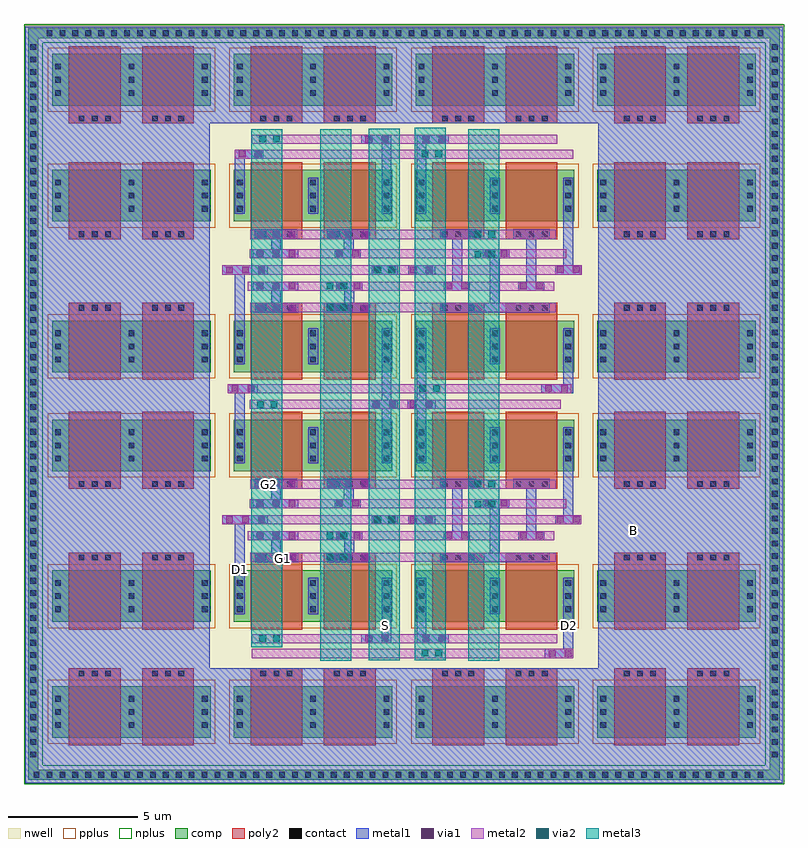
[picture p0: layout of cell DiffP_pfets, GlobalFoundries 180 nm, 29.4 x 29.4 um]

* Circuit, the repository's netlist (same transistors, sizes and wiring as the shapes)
** sch_path: /home/gmaranhao/Desktop/Bracolin/TIA_Filter/PseudoResistor/DiffP_pfets.sch
.subckt DiffP_pfets D1 D2 G1 G2 S B
*.PININFO D1:B D2:B G1:B G2:B S:B B:B
M1 net4 G1 S B pfet_03v3 L=2u W=2u nf=1 m=1
M2 net5 G2 S B pfet_03v3 L=2u W=2u nf=1 m=1
M5 net3 G1 S B pfet_03v3 L=2u W=2u nf=1 m=1
M6 net2 G1 S B pfet_03v3 L=2u W=2u nf=1 m=1
M7 net1 G1 S B pfet_03v3 L=2u W=2u nf=1 m=1
M8 D1 G1 net4 B pfet_03v3 L=2u W=2u nf=1 m=1
M9 D1 G1 net3 B pfet_03v3 L=2u W=2u nf=1 m=1
M10 D1 G1 net2 B pfet_03v3 L=2u W=2u nf=1 m=1
M11 D1 G1 net1 B pfet_03v3 L=2u W=2u nf=1 m=1
M12 net6 G2 S B pfet_03v3 L=2u W=2u nf=1 m=1
M15 D2 G2 net5 B pfet_03v3 L=2u W=2u nf=1 m=1
M16 D2 G2 net6 B pfet_03v3 L=2u W=2u nf=1 m=1
M19 net7 G2 S B pfet_03v3 L=2u W=2u nf=1 m=1
M20 net8 G2 S B pfet_03v3 L=2u W=2u nf=1 m=1
M21 D2 G2 net7 B pfet_03v3 L=2u W=2u nf=1 m=1
M22 D2 G2 net8 B pfet_03v3 L=2u W=2u nf=1 m=1
M3[1] B B B B pfet_03v3 L=2u W=2u nf=1 m=1
M3[2] B B B B pfet_03v3 L=2u W=2u nf=1 m=1
M3[3] B B B B pfet_03v3 L=2u W=2u nf=1 m=1
M3[4] B B B B pfet_03v3 L=2u W=2u nf=1 m=1
M3[5] B B B B pfet_03v3 L=2u W=2u nf=1 m=1
M3[6] B B B B pfet_03v3 L=2u W=2u nf=1 m=1
M3[7] B B B B pfet_03v3 L=2u W=2u nf=1 m=1
M3[8] B B B B pfet_03v3 L=2u W=2u nf=1 m=1
M3[9] B B B B pfet_03v3 L=2u W=2u nf=1 m=1
M3[10] B B B B pfet_03v3 L=2u W=2u nf=1 m=1
M3[11] B B B B pfet_03v3 L=2u W=2u nf=1 m=1
M3[12] B B B B pfet_03v3 L=2u W=2u nf=1 m=1
M3[13] B B B B pfet_03v3 L=2u W=2u nf=1 m=1
M3[14] B B B B pfet_03v3 L=2u W=2u nf=1 m=1
M3[15] B B B B pfet_03v3 L=2u W=2u nf=1 m=1
M3[16] B B B B pfet_03v3 L=2u W=2u nf=1 m=1
M3[17] B B B B pfet_03v3 L=2u W=2u nf=1 m=1
M3[18] B B B B pfet_03v3 L=2u W=2u nf=1 m=1
M3[19] B B B B pfet_03v3 L=2u W=2u nf=1 m=1
M3[20] B B B B pfet_03v3 L=2u W=2u nf=1 m=1
M3[21] B B B B pfet_03v3 L=2u W=2u nf=1 m=1
M3[22] B B B B pfet_03v3 L=2u W=2u nf=1 m=1
M3[23] B B B B pfet_03v3 L=2u W=2u nf=1 m=1
M3[24] B B B B pfet_03v3 L=2u W=2u nf=1 m=1
M3[25] B B B B pfet_03v3 L=2u W=2u nf=1 m=1
M3[26] B B B B pfet_03v3 L=2u W=2u nf=1 m=1
M3[27] B B B B pfet_03v3 L=2u W=2u nf=1 m=1
M3[28] B B B B pfet_03v3 L=2u W=2u nf=1 m=1
M3[29] B B B B pfet_03v3 L=2u W=2u nf=1 m=1
M3[30] B B B B pfet_03v3 L=2u W=2u nf=1 m=1
M3[31] B B B B pfet_03v3 L=2u W=2u nf=1 m=1
M3[32] B B B B pfet_03v3 L=2u W=2u nf=1 m=1
.ends
.end

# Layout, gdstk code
import gdstk
lib = gdstk.Library(unit=1e-6, precision=1e-09)
def R(c, l, rs):  # rectangles x0, y0, x1, y1
    for r in rs: c.add(gdstk.rectangle(r[:2], r[2:], *l))
def A(c, l, x, y, w, h, nx, ny, dx, dy):  # array of equal rectangles
    R(c, l, [(x+i*dx, y+j*dy, x+i*dx+w, y+j*dy+h) for i in range(nx) for j in range(ny)])
nwell = (21, 0)
comp = (22, 0)
poly2 = (30, 0)
pplus = (31, 0)
nplus = (32, 0)
contact = (33, 0)
metal1 = (34, 0)
via1 = (35, 0)
metal2 = (36, 0)
via2 = (38, 0)
metal3 = (42, 0)

pfet = lib.new_cell('pfet')
R(pfet, nwell, [(-0.9,-0.44,3.28,2.44)])
R(pfet, comp, [(-0.46,0,0,2), (0,0,2.38,2), (2.38,0,2.84,2)])
R(pfet, poly2, [(0.19,-0.3,2.19,2.3), (0.19,2.3,2.19,2.68)])
R(pfet, pplus, [(-0.63,-0.24,3.01,2.24)])
A(pfet, contact, -0.34, 0.38, 0.22, 0.22, 1, 3, 0, 0.51)
A(pfet, contact, 2.5, 0.38, 0.22, 0.22, 1, 3, 0, 0.51)
A(pfet, contact, 0.57, 2.38, 0.22, 0.22, 3, 1, 0.51, 0)
R(pfet, metal1, [(-0.42,0.3,-0.04,1.7), (2.42,0.3,2.8,1.7), (0.49,2.3,1.89,2.68)])

diffp_pfets = lib.new_cell('DiffP_pfets')
R(diffp_pfets, nwell, [(-8.535,-6.23,20.775,23.085)])
R(diffp_pfets, comp, [(-8.405,-6.1,20.655,-5.72), (20.275,-5.8,20.655,22.96), (-8.405,-5.735,-8.025,22.96), (-8.285,22.58,20.405,22.96)])
R(diffp_pfets, nplus, [(-8.575,-6.27,20.825,-5.55), (-8.575,-5.645,-7.855,23.13), (20.105,-5.645,20.825,23.13), (-8.455,22.41,20.575,23.13)])
A(diffp_pfets, contact, -8.2, -6.02, 0.22, 0.22, 57, 1, 0.5, 0)
A(diffp_pfets, contact, -8.325, -5.235, 0.22, 0.22, 1, 58, 0, 0.48)
A(diffp_pfets, contact, 20.355, -5.235, 0.22, 0.22, 1, 58, 0, 0.48)
A(diffp_pfets, contact, -7.7, 22.66, 0.22, 0.22, 56, 1, 0.5, 0)
R(diffp_pfets, metal1, [(-8.52,-6.235,-1.39,23.03), (-1.43,-6.235,20.77,-1.8), (13.64,-6.235,20.77,23.03), (11.575,-1.4,12.67,-1.045), (12.29,-1.335,12.67,0.81), (4.48,-0.825,5.64,-0.47), (6.61,-0.825,6.99,0.935), (6.69,-0.825,7.86,-0.47), (5.26,-0.81,5.64,1.335), (-0.42,1.69,-0.04,4.015), (0.38,2.3,2.03,2.68), (0.98,2.3,1.36,3.395), (3.155,2.3,4.805,2.68), (3.815,2.3,4.195,3.505), (8.815,2.3,10.725,2.68), (9.45,2.335,9.83,4.475), (0.265,3.15,2.03,3.505), (3.495,3.15,4.505,3.505), (3.495,3.15,4.505,3.505), (3.495,3.15,4.505,3.505), (7.665,3.15,8.675,3.505), (7.665,3.15,8.675,3.505), (7.665,3.15,8.675,3.505), (10.55,3.15,11.56,3.505), (10.55,3.15,11.56,3.505), (10.55,3.15,11.56,3.505), (7.995,3.365,8.375,5.505), (10.855,3.45,11.235,5.51), (-0.915,3.775,0.85,4.13), (4.87,3.775,5.88,4.13), (4.87,3.775,5.88,4.13), (4.87,3.775,5.88,4.13), (6.28,3.775,7.34,4.13), (11.98,3.775,12.99,4.13), (11.98,3.775,12.99,4.13), (11.98,3.775,12.99,4.13), (12.29,4.08,12.67,6.405), (0.265,4.4,2.03,4.755), (3.445,4.4,4.455,4.755), (3.445,4.4,4.455,4.755), (3.445,4.4,4.455,4.755), (9.18,4.4,10.19,4.755), (9.18,4.4,10.19,4.755), (9.18,4.4,10.19,4.755), (0.98,4.405,1.36,5.5), (3.8,4.405,4.18,5.5), (0.35,5.15,2,5.53), (3.155,5.15,4.805,5.53), (-0.42,7.51,-0.04,9.165), (5.26,7.525,5.64,8.56), (6.61,7.525,6.99,10.05), (4.77,8.24,5.885,8.595), (6.27,8.24,7.355,8.595), (5.26,8.535,5.64,10.08), (-0.695,8.845,0.475,9.2), (11.425,8.845,12.595,9.2), (12.29,8.845,12.67,10.085), (-0.42,11.35,-0.04,13.675), (0.38,11.96,2.03,12.34), (0.98,11.96,1.36,13.055), (3.155,11.96,4.805,12.34), (3.815,11.96,4.195,13.165), (8.815,11.96,10.725,12.34), (9.45,11.995,9.83,14.135), (0.265,12.81,2.03,13.165), (3.495,12.81,4.505,13.165), (3.495,12.81,4.505,13.165), (3.495,12.81,4.505,13.165), (7.665,12.81,8.675,13.165), (7.665,12.81,8.675,13.165), (7.665,12.81,8.675,13.165), (10.55,12.81,11.56,13.165), (10.55,12.81,11.56,13.165), (10.55,12.81,11.56,13.165), (7.995,13.025,8.375,15.165), (10.855,13.11,11.235,15.17), (-0.915,13.435,0.85,13.79), (4.87,13.435,5.88,13.79), (4.87,13.435,5.88,13.79), (4.87,13.435,5.88,13.79), (6.28,13.435,7.34,13.79), (11.98,13.435,12.99,13.79), (11.98,13.435,12.99,13.79), (11.98,13.435,12.99,13.79), (12.29,13.66,12.67,15.985), (0.265,14.06,2.03,14.415), (3.445,14.06,4.455,14.415), (3.445,14.06,4.455,14.415), (3.445,14.06,4.455,14.415), (9.18,14.06,10.19,14.415), (9.18,14.06,10.19,14.415), (9.18,14.06,10.19,14.415), (0.98,14.065,1.36,15.16), (3.8,14.065,4.18,15.16), (0.35,14.81,2,15.19), (3.155,14.81,4.805,15.19), (6.61,16.84,6.99,18.85), (5.26,16.855,5.64,18.85), (-0.42,17.085,-0.04,18.215), (-0.42,17.92,0.675,18.275), (4.48,18.495,5.64,18.85), (6.69,18.495,7.86,18.85), (-1.43,19.29,20.77,23.03)])
R(diffp_pfets, via1, [(11.73,-1.35,11.99,-1.09), (11.73,-1.35,11.99,-1.09), (11.73,-1.35,11.99,-1.09), (11.73,-1.35,11.99,-1.09), (11.73,-1.35,11.99,-1.09), (11.73,-1.35,11.99,-1.09), (11.73,-1.35,11.99,-1.09), (11.73,-1.35,11.99,-1.09), (12.35,-1.35,12.61,-1.09), (12.35,-1.35,12.61,-1.09), (12.35,-1.35,12.61,-1.09), (12.35,-1.35,12.61,-1.09), (12.35,-1.35,12.61,-1.09), (12.35,-1.35,12.61,-1.09), (12.35,-1.35,12.61,-1.09), (12.35,-1.35,12.61,-1.09), (4.635,-0.775,4.895,-0.515), (4.635,-0.775,4.895,-0.515), (4.635,-0.775,4.895,-0.515), (4.635,-0.775,4.895,-0.515), (4.635,-0.775,4.895,-0.515), (4.635,-0.775,4.895,-0.515), (4.635,-0.775,4.895,-0.515), (4.635,-0.775,4.895,-0.515), (5.255,-0.775,5.515,-0.515), (5.255,-0.775,5.515,-0.515), (5.255,-0.775,5.515,-0.515), (5.255,-0.775,5.515,-0.515), (5.255,-0.775,5.515,-0.515), (5.255,-0.775,5.515,-0.515), (5.255,-0.775,5.515,-0.515), (5.255,-0.775,5.515,-0.515), (6.845,-0.775,7.105,-0.515), (6.845,-0.775,7.105,-0.515), (6.845,-0.775,7.105,-0.515), (6.845,-0.775,7.105,-0.515), (6.845,-0.775,7.105,-0.515), (6.845,-0.775,7.105,-0.515), (6.845,-0.775,7.105,-0.515), (6.845,-0.775,7.105,-0.515), (7.465,-0.775,7.725,-0.515), (7.465,-0.775,7.725,-0.515), (7.465,-0.775,7.725,-0.515), (7.465,-0.775,7.725,-0.515), (7.465,-0.775,7.725,-0.515), (7.465,-0.775,7.725,-0.515), (7.465,-0.775,7.725,-0.515), (7.465,-0.775,7.725,-0.515), (0.45,2.35,0.71,2.61), (0.45,2.35,0.71,2.61), (0.45,2.35,0.71,2.61), (0.45,2.35,0.71,2.61), (0.45,2.35,0.71,2.61), (0.45,2.35,0.71,2.61), (0.45,2.35,0.71,2.61), (0.45,2.35,0.71,2.61), (1.07,2.35,1.33,2.61), (1.07,2.35,1.33,2.61), (1.07,2.35,1.33,2.61), (1.07,2.35,1.33,2.61), (1.07,2.35,1.33,2.61), (1.07,2.35,1.33,2.61), (1.07,2.35,1.33,2.61), (1.07,2.35,1.33,2.61), (1.69,2.35,1.95,2.61), (1.69,2.35,1.95,2.61), (1.69,2.35,1.95,2.61), (1.69,2.35,1.95,2.61), (1.69,2.35,1.95,2.61), (1.69,2.35,1.95,2.61), (1.69,2.35,1.95,2.61), (1.69,2.35,1.95,2.61), (3.225,2.35,3.485,2.61), (3.225,2.35,3.485,2.61), (3.225,2.35,3.485,2.61), (3.225,2.35,3.485,2.61), (3.225,2.35,3.485,2.61), (3.225,2.35,3.485,2.61), (3.225,2.35,3.485,2.61), (3.225,2.35,3.485,2.61), (3.845,2.35,4.105,2.61), (3.845,2.35,4.105,2.61), (3.845,2.35,4.105,2.61), (3.845,2.35,4.105,2.61), (3.845,2.35,4.105,2.61), (3.845,2.35,4.105,2.61), (3.845,2.35,4.105,2.61), (3.845,2.35,4.105,2.61), (4.465,2.35,4.725,2.61), (4.465,2.35,4.725,2.61), (4.465,2.35,4.725,2.61), (4.465,2.35,4.725,2.61), (4.465,2.35,4.725,2.61), (4.465,2.35,4.725,2.61), (4.465,2.35,4.725,2.61), (4.465,2.35,4.725,2.61), (0.42,3.2,0.68,3.46), (0.42,3.2,0.68,3.46), (0.42,3.2,0.68,3.46), (0.42,3.2,0.68,3.46), (0.42,3.2,0.68,3.46), (0.42,3.2,0.68,3.46), (0.42,3.2,0.68,3.46), (0.42,3.2,0.68,3.46), (1.04,3.2,1.3,3.46), (1.04,3.2,1.3,3.46), (1.04,3.2,1.3,3.46), (1.04,3.2,1.3,3.46), (1.04,3.2,1.3,3.46), (1.04,3.2,1.3,3.46), (1.04,3.2,1.3,3.46), (1.04,3.2,1.3,3.46), (1.66,3.2,1.92,3.46), (1.66,3.2,1.92,3.46), (1.66,3.2,1.92,3.46), (1.66,3.2,1.92,3.46), (1.66,3.2,1.92,3.46), (1.66,3.2,1.92,3.46), (1.66,3.2,1.92,3.46), (1.66,3.2,1.92,3.46), (3.555,3.215,3.815,3.475), (4.175,3.215,4.435,3.475), (7.725,3.215,7.985,3.475), (8.345,3.215,8.605,3.475), (10.61,3.215,10.87,3.475), (11.23,3.215,11.49,3.475), (-0.76,3.825,-0.5,4.085), (-0.76,3.825,-0.5,4.085), (-0.76,3.825,-0.5,4.085), (-0.76,3.825,-0.5,4.085), (-0.76,3.825,-0.5,4.085), (-0.76,3.825,-0.5,4.085), (-0.76,3.825,-0.5,4.085), (-0.76,3.825,-0.5,4.085), (-0.14,3.825,0.12,4.085), (-0.14,3.825,0.12,4.085), (-0.14,3.825,0.12,4.085), (-0.14,3.825,0.12,4.085), (-0.14,3.825,0.12,4.085), (-0.14,3.825,0.12,4.085), (-0.14,3.825,0.12,4.085), (-0.14,3.825,0.12,4.085), (0.48,3.825,0.74,4.085), (0.48,3.825,0.74,4.085), (0.48,3.825,0.74,4.085), (0.48,3.825,0.74,4.085), (0.48,3.825,0.74,4.085), (0.48,3.825,0.74,4.085), (0.48,3.825,0.74,4.085), (0.48,3.825,0.74,4.085), (6.35,3.825,6.61,4.085), (6.35,3.825,6.61,4.085), (6.35,3.825,6.61,4.085), (6.35,3.825,6.61,4.085), (6.35,3.825,6.61,4.085), (6.35,3.825,6.61,4.085), (6.35,3.825,6.61,4.085), (6.35,3.825,6.61,4.085), (6.97,3.825,7.23,4.085), (6.97,3.825,7.23,4.085), (6.97,3.825,7.23,4.085), (6.97,3.825,7.23,4.085), (6.97,3.825,7.23,4.085), (6.97,3.825,7.23,4.085), (6.97,3.825,7.23,4.085), (6.97,3.825,7.23,4.085), (4.93,3.84,5.19,4.1), (4.93,3.84,5.19,4.1), (5.55,3.84,5.81,4.1), (5.55,3.84,5.81,4.1), (12.04,3.84,12.3,4.1), (12.04,3.84,12.3,4.1), (12.66,3.84,12.92,4.1), (12.66,3.84,12.92,4.1), (0.42,4.45,0.68,4.71), (0.42,4.45,0.68,4.71), (0.42,4.45,0.68,4.71), (0.42,4.45,0.68,4.71), (0.42,4.45,0.68,4.71), (0.42,4.45,0.68,4.71), (0.42,4.45,0.68,4.71), (0.42,4.45,0.68,4.71), (1.04,4.45,1.3,4.71), (1.04,4.45,1.3,4.71), (1.04,4.45,1.3,4.71), (1.04,4.45,1.3,4.71), (1.04,4.45,1.3,4.71), (1.04,4.45,1.3,4.71), (1.04,4.45,1.3,4.71), (1.04,4.45,1.3,4.71), (1.66,4.45,1.92,4.71), (1.66,4.45,1.92,4.71), (1.66,4.45,1.92,4.71), (1.66,4.45,1.92,4.71), (1.66,4.45,1.92,4.71), (1.66,4.45,1.92,4.71), (1.66,4.45,1.92,4.71), (1.66,4.45,1.92,4.71), (3.505,4.465,3.765,4.725), (4.125,4.465,4.385,4.725), (9.24,4.465,9.5,4.725), (9.86,4.465,10.12,4.725), (0.42,5.2,0.68,5.46), (0.42,5.2,0.68,5.46), (0.42,5.2,0.68,5.46), (0.42,5.2,0.68,5.46), (0.42,5.2,0.68,5.46), (0.42,5.2,0.68,5.46), (0.42,5.2,0.68,5.46), (0.42,5.2,0.68,5.46), (1.04,5.2,1.3,5.46), (1.04,5.2,1.3,5.46), (1.04,5.2,1.3,5.46), (1.04,5.2,1.3,5.46), (1.04,5.2,1.3,5.46), (1.04,5.2,1.3,5.46), (1.04,5.2,1.3,5.46), (1.04,5.2,1.3,5.46), (1.66,5.2,1.92,5.46), (1.66,5.2,1.92,5.46), (1.66,5.2,1.92,5.46), (1.66,5.2,1.92,5.46), (1.66,5.2,1.92,5.46), (1.66,5.2,1.92,5.46), (1.66,5.2,1.92,5.46), (1.66,5.2,1.92,5.46), (3.225,5.2,3.485,5.46), (3.225,5.2,3.485,5.46), (3.225,5.2,3.485,5.46), (3.225,5.2,3.485,5.46), (3.225,5.2,3.485,5.46), (3.225,5.2,3.485,5.46), (3.225,5.2,3.485,5.46), (3.225,5.2,3.485,5.46), (3.845,5.2,4.105,5.46), (3.845,5.2,4.105,5.46), (3.845,5.2,4.105,5.46), (3.845,5.2,4.105,5.46), (3.845,5.2,4.105,5.46), (3.845,5.2,4.105,5.46), (3.845,5.2,4.105,5.46), (3.845,5.2,4.105,5.46), (4.465,5.2,4.725,5.46), (4.465,5.2,4.725,5.46), (4.465,5.2,4.725,5.46), (4.465,5.2,4.725,5.46), (4.465,5.2,4.725,5.46), (4.465,5.2,4.725,5.46), (4.465,5.2,4.725,5.46), (4.465,5.2,4.725,5.46), (4.925,8.29,5.185,8.55), (4.925,8.29,5.185,8.55), (4.925,8.29,5.185,8.55), (4.925,8.29,5.185,8.55), (4.925,8.29,5.185,8.55), (4.925,8.29,5.185,8.55), (4.925,8.29,5.185,8.55), (4.925,8.29,5.185,8.55), (5.545,8.29,5.805,8.55), (5.545,8.29,5.805,8.55), (5.545,8.29,5.805,8.55), (5.545,8.29,5.805,8.55), (5.545,8.29,5.805,8.55), (5.545,8.29,5.805,8.55), (5.545,8.29,5.805,8.55), (5.545,8.29,5.805,8.55), (6.34,8.29,6.6,8.55), (6.34,8.29,6.6,8.55), (6.34,8.29,6.6,8.55), (6.34,8.29,6.6,8.55), (6.34,8.29,6.6,8.55), (6.34,8.29,6.6,8.55), (6.34,8.29,6.6,8.55), (6.34,8.29,6.6,8.55), (6.96,8.29,7.22,8.55), (6.96,8.29,7.22,8.55), (6.96,8.29,7.22,8.55), (6.96,8.29,7.22,8.55), (6.96,8.29,7.22,8.55), (6.96,8.29,7.22,8.55), (6.96,8.29,7.22,8.55), (6.96,8.29,7.22,8.55), (-0.54,8.895,-0.28,9.155), (-0.54,8.895,-0.28,9.155), (-0.54,8.895,-0.28,9.155), (-0.54,8.895,-0.28,9.155), (-0.54,8.895,-0.28,9.155), (-0.54,8.895,-0.28,9.155), (-0.54,8.895,-0.28,9.155), (-0.54,8.895,-0.28,9.155), (0.08,8.895,0.34,9.155), (0.08,8.895,0.34,9.155), (0.08,8.895,0.34,9.155), (0.08,8.895,0.34,9.155), (0.08,8.895,0.34,9.155), (0.08,8.895,0.34,9.155), (0.08,8.895,0.34,9.155), (0.08,8.895,0.34,9.155), (11.58,8.895,11.84,9.155), (11.58,8.895,11.84,9.155), (11.58,8.895,11.84,9.155), (11.58,8.895,11.84,9.155), (11.58,8.895,11.84,9.155), (11.58,8.895,11.84,9.155), (11.58,8.895,11.84,9.155), (11.58,8.895,11.84,9.155), (12.2,8.895,12.46,9.155), (12.2,8.895,12.46,9.155), (12.2,8.895,12.46,9.155), (12.2,8.895,12.46,9.155), (12.2,8.895,12.46,9.155), (12.2,8.895,12.46,9.155), (12.2,8.895,12.46,9.155), (12.2,8.895,12.46,9.155), (0.45,12.01,0.71,12.27), (0.45,12.01,0.71,12.27), (0.45,12.01,0.71,12.27), (0.45,12.01,0.71,12.27), (0.45,12.01,0.71,12.27), (0.45,12.01,0.71,12.27), (0.45,12.01,0.71,12.27), (0.45,12.01,0.71,12.27), (1.07,12.01,1.33,12.27), (1.07,12.01,1.33,12.27), (1.07,12.01,1.33,12.27), (1.07,12.01,1.33,12.27), (1.07,12.01,1.33,12.27), (1.07,12.01,1.33,12.27), (1.07,12.01,1.33,12.27), (1.07,12.01,1.33,12.27), (1.69,12.01,1.95,12.27), (1.69,12.01,1.95,12.27), (1.69,12.01,1.95,12.27), (1.69,12.01,1.95,12.27), (1.69,12.01,1.95,12.27), (1.69,12.01,1.95,12.27), (1.69,12.01,1.95,12.27), (1.69,12.01,1.95,12.27), (3.225,12.01,3.485,12.27), (3.225,12.01,3.485,12.27), (3.225,12.01,3.485,12.27), (3.225,12.01,3.485,12.27), (3.225,12.01,3.485,12.27), (3.225,12.01,3.485,12.27), (3.225,12.01,3.485,12.27), (3.225,12.01,3.485,12.27), (3.845,12.01,4.105,12.27), (3.845,12.01,4.105,12.27), (3.845,12.01,4.105,12.27), (3.845,12.01,4.105,12.27), (3.845,12.01,4.105,12.27), (3.845,12.01,4.105,12.27), (3.845,12.01,4.105,12.27), (3.845,12.01,4.105,12.27), (4.465,12.01,4.725,12.27), (4.465,12.01,4.725,12.27), (4.465,12.01,4.725,12.27), (4.465,12.01,4.725,12.27), (4.465,12.01,4.725,12.27), (4.465,12.01,4.725,12.27), (4.465,12.01,4.725,12.27), (4.465,12.01,4.725,12.27), (0.42,12.86,0.68,13.12), (0.42,12.86,0.68,13.12), (0.42,12.86,0.68,13.12), (0.42,12.86,0.68,13.12), (0.42,12.86,0.68,13.12), (0.42,12.86,0.68,13.12), (0.42,12.86,0.68,13.12), (0.42,12.86,0.68,13.12), (1.04,12.86,1.3,13.12), (1.04,12.86,1.3,13.12), (1.04,12.86,1.3,13.12), (1.04,12.86,1.3,13.12), (1.04,12.86,1.3,13.12), (1.04,12.86,1.3,13.12), (1.04,12.86,1.3,13.12), (1.04,12.86,1.3,13.12), (1.66,12.86,1.92,13.12), (1.66,12.86,1.92,13.12), (1.66,12.86,1.92,13.12), (1.66,12.86,1.92,13.12), (1.66,12.86,1.92,13.12), (1.66,12.86,1.92,13.12), (1.66,12.86,1.92,13.12), (1.66,12.86,1.92,13.12), (3.555,12.875,3.815,13.135), (4.175,12.875,4.435,13.135), (7.725,12.875,7.985,13.135), (8.345,12.875,8.605,13.135), (10.61,12.875,10.87,13.135), (11.23,12.875,11.49,13.135), (-0.76,13.485,-0.5,13.745), (-0.76,13.485,-0.5,13.745), (-0.76,13.485,-0.5,13.745), (-0.76,13.485,-0.5,13.745), (-0.76,13.485,-0.5,13.745), (-0.76,13.485,-0.5,13.745), (-0.76,13.485,-0.5,13.745), (-0.76,13.485,-0.5,13.745), (-0.14,13.485,0.12,13.745), (-0.14,13.485,0.12,13.745), (-0.14,13.485,0.12,13.745), (-0.14,13.485,0.12,13.745), (-0.14,13.485,0.12,13.745), (-0.14,13.485,0.12,13.745), (-0.14,13.485,0.12,13.745), (-0.14,13.485,0.12,13.745), (0.48,13.485,0.74,13.745), (0.48,13.485,0.74,13.745), (0.48,13.485,0.74,13.745), (0.48,13.485,0.74,13.745), (0.48,13.485,0.74,13.745), (0.48,13.485,0.74,13.745), (0.48,13.485,0.74,13.745), (0.48,13.485,0.74,13.745), (6.35,13.485,6.61,13.745), (6.35,13.485,6.61,13.745), (6.35,13.485,6.61,13.745), (6.35,13.485,6.61,13.745), (6.35,13.485,6.61,13.745), (6.35,13.485,6.61,13.745), (6.35,13.485,6.61,13.745), (6.35,13.485,6.61,13.745), (6.97,13.485,7.23,13.745), (6.97,13.485,7.23,13.745), (6.97,13.485,7.23,13.745), (6.97,13.485,7.23,13.745), (6.97,13.485,7.23,13.745), (6.97,13.485,7.23,13.745), (6.97,13.485,7.23,13.745), (6.97,13.485,7.23,13.745), (4.93,13.5,5.19,13.76), (4.93,13.5,5.19,13.76), (5.55,13.5,5.81,13.76), (5.55,13.5,5.81,13.76), (12.04,13.5,12.3,13.76), (12.04,13.5,12.3,13.76), (12.66,13.5,12.92,13.76), (12.66,13.5,12.92,13.76), (0.42,14.11,0.68,14.37), (0.42,14.11,0.68,14.37), (0.42,14.11,0.68,14.37), (0.42,14.11,0.68,14.37), (0.42,14.11,0.68,14.37), (0.42,14.11,0.68,14.37), (0.42,14.11,0.68,14.37), (0.42,14.11,0.68,14.37), (1.04,14.11,1.3,14.37), (1.04,14.11,1.3,14.37), (1.04,14.11,1.3,14.37), (1.04,14.11,1.3,14.37), (1.04,14.11,1.3,14.37), (1.04,14.11,1.3,14.37), (1.04,14.11,1.3,14.37), (1.04,14.11,1.3,14.37), (1.66,14.11,1.92,14.37), (1.66,14.11,1.92,14.37), (1.66,14.11,1.92,14.37), (1.66,14.11,1.92,14.37), (1.66,14.11,1.92,14.37), (1.66,14.11,1.92,14.37), (1.66,14.11,1.92,14.37), (1.66,14.11,1.92,14.37), (3.505,14.125,3.765,14.385), (4.125,14.125,4.385,14.385), (9.24,14.125,9.5,14.385), (9.86,14.125,10.12,14.385), (0.42,14.86,0.68,15.12), (0.42,14.86,0.68,15.12), (0.42,14.86,0.68,15.12), (0.42,14.86,0.68,15.12), (0.42,14.86,0.68,15.12), (0.42,14.86,0.68,15.12), (0.42,14.86,0.68,15.12), (0.42,14.86,0.68,15.12), (1.04,14.86,1.3,15.12), (1.04,14.86,1.3,15.12), (1.04,14.86,1.3,15.12), (1.04,14.86,1.3,15.12), (1.04,14.86,1.3,15.12), (1.04,14.86,1.3,15.12), (1.04,14.86,1.3,15.12), (1.04,14.86,1.3,15.12), (1.66,14.86,1.92,15.12), (1.66,14.86,1.92,15.12), (1.66,14.86,1.92,15.12), (1.66,14.86,1.92,15.12), (1.66,14.86,1.92,15.12), (1.66,14.86,1.92,15.12), (1.66,14.86,1.92,15.12), (1.66,14.86,1.92,15.12), (3.225,14.86,3.485,15.12), (3.225,14.86,3.485,15.12), (3.225,14.86,3.485,15.12), (3.225,14.86,3.485,15.12), (3.225,14.86,3.485,15.12), (3.225,14.86,3.485,15.12), (3.225,14.86,3.485,15.12), (3.225,14.86,3.485,15.12), (3.845,14.86,4.105,15.12), (3.845,14.86,4.105,15.12), (3.845,14.86,4.105,15.12), (3.845,14.86,4.105,15.12), (3.845,14.86,4.105,15.12), (3.845,14.86,4.105,15.12), (3.845,14.86,4.105,15.12), (3.845,14.86,4.105,15.12), (4.465,14.86,4.725,15.12), (4.465,14.86,4.725,15.12), (4.465,14.86,4.725,15.12), (4.465,14.86,4.725,15.12), (4.465,14.86,4.725,15.12), (4.465,14.86,4.725,15.12), (4.465,14.86,4.725,15.12), (4.465,14.86,4.725,15.12), (-0.265,17.97,-0.005,18.23), (-0.265,17.97,-0.005,18.23), (-0.265,17.97,-0.005,18.23), (-0.265,17.97,-0.005,18.23), (-0.265,17.97,-0.005,18.23), (-0.265,17.97,-0.005,18.23), (-0.265,17.97,-0.005,18.23), (-0.265,17.97,-0.005,18.23), (0.355,17.97,0.615,18.23), (0.355,17.97,0.615,18.23), (0.355,17.97,0.615,18.23), (0.355,17.97,0.615,18.23), (0.355,17.97,0.615,18.23), (0.355,17.97,0.615,18.23), (0.355,17.97,0.615,18.23), (0.355,17.97,0.615,18.23), (4.635,18.545,4.895,18.805), (4.635,18.545,4.895,18.805), (4.635,18.545,4.895,18.805), (4.635,18.545,4.895,18.805), (4.635,18.545,4.895,18.805), (4.635,18.545,4.895,18.805), (4.635,18.545,4.895,18.805), (4.635,18.545,4.895,18.805), (5.255,18.545,5.515,18.805), (5.255,18.545,5.515,18.805), (5.255,18.545,5.515,18.805), (5.255,18.545,5.515,18.805), (5.255,18.545,5.515,18.805), (5.255,18.545,5.515,18.805), (5.255,18.545,5.515,18.805), (5.255,18.545,5.515,18.805), (6.845,18.545,7.105,18.805), (6.845,18.545,7.105,18.805), (6.845,18.545,7.105,18.805), (6.845,18.545,7.105,18.805), (6.845,18.545,7.105,18.805), (6.845,18.545,7.105,18.805), (6.845,18.545,7.105,18.805), (6.845,18.545,7.105,18.805), (7.465,18.545,7.725,18.805), (7.465,18.545,7.725,18.805), (7.465,18.545,7.725,18.805), (7.465,18.545,7.725,18.805), (7.465,18.545,7.725,18.805), (7.465,18.545,7.725,18.805), (7.465,18.545,7.725,18.805), (7.465,18.545,7.725,18.805)])
R(diffp_pfets, metal2, [(0.24,-1.4,12.68,-1.045), (0.24,-0.825,12.05,-0.47), (0.17,2.325,11.99,2.68), (0.09,3.15,11.94,3.505), (-0.915,3.775,12.99,4.13), (0.15,3.775,12.395,4.13), (0.15,4.4,12.395,4.755), (0.17,5.15,11.99,5.505), (0.15,8.24,12.185,8.595), (-0.695,8.845,12.595,9.2), (0.17,11.985,11.99,12.34), (0.09,12.81,11.94,13.165), (-0.915,13.435,13.005,13.79), (0.15,14.06,12.395,14.415), (0.17,14.81,11.99,15.165), (-0.42,17.92,12.68,18.275), (0.24,18.495,12.05,18.85)])
R(diffp_pfets, via2, [(6.81,-1.335,7.07,-1.075), (6.81,-1.335,7.07,-1.075), (6.81,-1.335,7.07,-1.075), (6.81,-1.335,7.07,-1.075), (6.81,-1.335,7.07,-1.075), (6.81,-1.335,7.07,-1.075), (6.81,-1.335,7.07,-1.075), (6.81,-1.335,7.07,-1.075), (7.34,-1.335,7.6,-1.075), (7.34,-1.335,7.6,-1.075), (7.34,-1.335,7.6,-1.075), (7.34,-1.335,7.6,-1.075), (7.34,-1.335,7.6,-1.075), (7.34,-1.335,7.6,-1.075), (7.34,-1.335,7.6,-1.075), (7.34,-1.335,7.6,-1.075), (0.53,-0.77,0.79,-0.51), (0.53,-0.77,0.79,-0.51), (0.53,-0.77,0.79,-0.51), (0.53,-0.77,0.79,-0.51), (0.53,-0.77,0.79,-0.51), (0.53,-0.77,0.79,-0.51), (0.53,-0.77,0.79,-0.51), (0.53,-0.77,0.79,-0.51), (1.06,-0.77,1.32,-0.51), (1.06,-0.77,1.32,-0.51), (1.06,-0.77,1.32,-0.51), (1.06,-0.77,1.32,-0.51), (1.06,-0.77,1.32,-0.51), (1.06,-0.77,1.32,-0.51), (1.06,-0.77,1.32,-0.51), (1.06,-0.77,1.32,-0.51), (3.13,2.38,3.39,2.64), (3.13,2.38,3.39,2.64), (3.13,2.38,3.39,2.64), (3.13,2.38,3.39,2.64), (3.13,2.38,3.39,2.64), (3.13,2.38,3.39,2.64), (3.13,2.38,3.39,2.64), (3.13,2.38,3.39,2.64), (3.66,2.38,3.92,2.64), (3.66,2.38,3.92,2.64), (3.66,2.38,3.92,2.64), (3.66,2.38,3.92,2.64), (3.66,2.38,3.92,2.64), (3.66,2.38,3.92,2.64), (3.66,2.38,3.92,2.64), (3.66,2.38,3.92,2.64), (3.13,3.205,3.39,3.465), (3.13,3.205,3.39,3.465), (3.13,3.205,3.39,3.465), (3.13,3.205,3.39,3.465), (3.13,3.205,3.39,3.465), (3.13,3.205,3.39,3.465), (3.13,3.205,3.39,3.465), (3.13,3.205,3.39,3.465), (3.66,3.205,3.92,3.465), (3.66,3.205,3.92,3.465), (3.66,3.205,3.92,3.465), (3.66,3.205,3.92,3.465), (3.66,3.205,3.92,3.465), (3.66,3.205,3.92,3.465), (3.66,3.205,3.92,3.465), (3.66,3.205,3.92,3.465), (4.98,3.82,5.24,4.08), (4.98,3.82,5.24,4.08), (4.98,3.82,5.24,4.08), (4.98,3.82,5.24,4.08), (4.98,3.82,5.24,4.08), (4.98,3.82,5.24,4.08), (4.98,3.82,5.24,4.08), (4.98,3.82,5.24,4.08), (5.51,3.82,5.77,4.08), (5.51,3.82,5.77,4.08), (5.51,3.82,5.77,4.08), (5.51,3.82,5.77,4.08), (5.51,3.82,5.77,4.08), (5.51,3.82,5.77,4.08), (5.51,3.82,5.77,4.08), (5.51,3.82,5.77,4.08), (8.86,4.435,9.12,4.695), (8.86,4.435,9.12,4.695), (8.86,4.435,9.12,4.695), (8.86,4.435,9.12,4.695), (8.86,4.435,9.12,4.695), (8.86,4.435,9.12,4.695), (8.86,4.435,9.12,4.695), (8.86,4.435,9.12,4.695), (9.39,4.435,9.65,4.695), (9.39,4.435,9.65,4.695), (9.39,4.435,9.65,4.695), (9.39,4.435,9.65,4.695), (9.39,4.435,9.65,4.695), (9.39,4.435,9.65,4.695), (9.39,4.435,9.65,4.695), (9.39,4.435,9.65,4.695), (8.86,5.205,9.12,5.465), (8.86,5.205,9.12,5.465), (8.86,5.205,9.12,5.465), (8.86,5.205,9.12,5.465), (8.86,5.205,9.12,5.465), (8.86,5.205,9.12,5.465), (8.86,5.205,9.12,5.465), (8.86,5.205,9.12,5.465), (9.39,5.205,9.65,5.465), (9.39,5.205,9.65,5.465), (9.39,5.205,9.65,5.465), (9.39,5.205,9.65,5.465), (9.39,5.205,9.65,5.465), (9.39,5.205,9.65,5.465), (9.39,5.205,9.65,5.465), (9.39,5.205,9.65,5.465), (0.44,8.275,0.7,8.535), (0.44,8.275,0.7,8.535), (0.44,8.275,0.7,8.535), (0.44,8.275,0.7,8.535), (0.44,8.275,0.7,8.535), (0.44,8.275,0.7,8.535), (0.44,8.275,0.7,8.535), (0.44,8.275,0.7,8.535), (0.97,8.275,1.23,8.535), (0.97,8.275,1.23,8.535), (0.97,8.275,1.23,8.535), (0.97,8.275,1.23,8.535), (0.97,8.275,1.23,8.535), (0.97,8.275,1.23,8.535), (0.97,8.275,1.23,8.535), (0.97,8.275,1.23,8.535), (6.72,8.905,6.98,9.165), (6.72,8.905,6.98,9.165), (6.72,8.905,6.98,9.165), (6.72,8.905,6.98,9.165), (6.72,8.905,6.98,9.165), (6.72,8.905,6.98,9.165), (6.72,8.905,6.98,9.165), (6.72,8.905,6.98,9.165), (7.25,8.905,7.51,9.165), (7.25,8.905,7.51,9.165), (7.25,8.905,7.51,9.165), (7.25,8.905,7.51,9.165), (7.25,8.905,7.51,9.165), (7.25,8.905,7.51,9.165), (7.25,8.905,7.51,9.165), (7.25,8.905,7.51,9.165), (3.13,12.04,3.39,12.3), (3.13,12.04,3.39,12.3), (3.13,12.04,3.39,12.3), (3.13,12.04,3.39,12.3), (3.13,12.04,3.39,12.3), (3.13,12.04,3.39,12.3), (3.13,12.04,3.39,12.3), (3.13,12.04,3.39,12.3), (3.66,12.04,3.92,12.3), (3.66,12.04,3.92,12.3), (3.66,12.04,3.92,12.3), (3.66,12.04,3.92,12.3), (3.66,12.04,3.92,12.3), (3.66,12.04,3.92,12.3), (3.66,12.04,3.92,12.3), (3.66,12.04,3.92,12.3), (3.13,12.865,3.39,13.125), (3.13,12.865,3.39,13.125), (3.13,12.865,3.39,13.125), (3.13,12.865,3.39,13.125), (3.13,12.865,3.39,13.125), (3.13,12.865,3.39,13.125), (3.13,12.865,3.39,13.125), (3.13,12.865,3.39,13.125), (3.66,12.865,3.92,13.125), (3.66,12.865,3.92,13.125), (3.66,12.865,3.92,13.125), (3.66,12.865,3.92,13.125), (3.66,12.865,3.92,13.125), (3.66,12.865,3.92,13.125), (3.66,12.865,3.92,13.125), (3.66,12.865,3.92,13.125), (4.98,13.48,5.24,13.74), (4.98,13.48,5.24,13.74), (4.98,13.48,5.24,13.74), (4.98,13.48,5.24,13.74), (4.98,13.48,5.24,13.74), (4.98,13.48,5.24,13.74), (4.98,13.48,5.24,13.74), (4.98,13.48,5.24,13.74), (5.51,13.48,5.77,13.74), (5.51,13.48,5.77,13.74), (5.51,13.48,5.77,13.74), (5.51,13.48,5.77,13.74), (5.51,13.48,5.77,13.74), (5.51,13.48,5.77,13.74), (5.51,13.48,5.77,13.74), (5.51,13.48,5.77,13.74), (8.86,14.095,9.12,14.355), (8.86,14.095,9.12,14.355), (8.86,14.095,9.12,14.355), (8.86,14.095,9.12,14.355), (8.86,14.095,9.12,14.355), (8.86,14.095,9.12,14.355), (8.86,14.095,9.12,14.355), (8.86,14.095,9.12,14.355), (9.39,14.095,9.65,14.355), (9.39,14.095,9.65,14.355), (9.39,14.095,9.65,14.355), (9.39,14.095,9.65,14.355), (9.39,14.095,9.65,14.355), (9.39,14.095,9.65,14.355), (9.39,14.095,9.65,14.355), (9.39,14.095,9.65,14.355), (8.86,14.865,9.12,15.125), (8.86,14.865,9.12,15.125), (8.86,14.865,9.12,15.125), (8.86,14.865,9.12,15.125), (8.86,14.865,9.12,15.125), (8.86,14.865,9.12,15.125), (8.86,14.865,9.12,15.125), (8.86,14.865,9.12,15.125), (9.39,14.865,9.65,15.125), (9.39,14.865,9.65,15.125), (9.39,14.865,9.65,15.125), (9.39,14.865,9.65,15.125), (9.39,14.865,9.65,15.125), (9.39,14.865,9.65,15.125), (9.39,14.865,9.65,15.125), (9.39,14.865,9.65,15.125), (6.81,17.985,7.07,18.245), (6.81,17.985,7.07,18.245), (6.81,17.985,7.07,18.245), (6.81,17.985,7.07,18.245), (6.81,17.985,7.07,18.245), (6.81,17.985,7.07,18.245), (6.81,17.985,7.07,18.245), (6.81,17.985,7.07,18.245), (7.34,17.985,7.6,18.245), (7.34,17.985,7.6,18.245), (7.34,17.985,7.6,18.245), (7.34,17.985,7.6,18.245), (7.34,17.985,7.6,18.245), (7.34,17.985,7.6,18.245), (7.34,17.985,7.6,18.245), (7.34,17.985,7.6,18.245), (0.53,18.55,0.79,18.81), (0.53,18.55,0.79,18.81), (0.53,18.55,0.79,18.81), (0.53,18.55,0.79,18.81), (0.53,18.55,0.79,18.81), (0.53,18.55,0.79,18.81), (0.53,18.55,0.79,18.81), (0.53,18.55,0.79,18.81), (1.06,18.55,1.32,18.81), (1.06,18.55,1.32,18.81), (1.06,18.55,1.32,18.81), (1.06,18.55,1.32,18.81), (1.06,18.55,1.32,18.81), (1.06,18.55,1.32,18.81), (1.06,18.55,1.32,18.81), (1.06,18.55,1.32,18.81)])
R(diffp_pfets, metal3, [(2.88,-1.51,4.08,19.05), (8.61,-1.505,9.81,19.05), (4.76,-1.49,5.96,19.085), (6.545,-1.49,7.745,19.12), (0.22,-0.985,1.42,19.065)])
diffp_pfets.add(gdstk.Reference(pfet, (0,7.83), x_reflection=True))
diffp_pfets.add(gdstk.Reference(pfet, (2.84,7.83), x_reflection=True))
diffp_pfets.add(gdstk.Reference(pfet, (7.03,7.83), x_reflection=True))
diffp_pfets.add(gdstk.Reference(pfet, (9.87,7.83), x_reflection=True))
diffp_pfets.add(gdstk.Reference(pfet, (0,0)))
diffp_pfets.add(gdstk.Reference(pfet, (2.84,0)))
diffp_pfets.add(gdstk.Reference(pfet, (9.87,0)))
diffp_pfets.add(gdstk.Reference(pfet, (0,17.49), x_reflection=True))
diffp_pfets.add(gdstk.Reference(pfet, (2.84,17.49), x_reflection=True))
diffp_pfets.add(gdstk.Reference(pfet, (7.03,17.49), x_reflection=True))
diffp_pfets.add(gdstk.Reference(pfet, (9.87,17.49), x_reflection=True))
diffp_pfets.add(gdstk.Reference(pfet, (0,9.66)))
diffp_pfets.add(gdstk.Reference(pfet, (2.84,9.66)))
diffp_pfets.add(gdstk.Reference(pfet, (7.03,9.66)))
diffp_pfets.add(gdstk.Reference(pfet, (9.87,9.66)))
diffp_pfets.add(gdstk.Reference(pfet, (7.03,0)))
diffp_pfets.add(gdstk.Reference(pfet, (0,7.83), x_reflection=True))
diffp_pfets.add(gdstk.Reference(pfet, (2.84,7.83), x_reflection=True))
diffp_pfets.add(gdstk.Reference(pfet, (0,0)))
diffp_pfets.add(gdstk.Reference(pfet, (0,17.49), x_reflection=True))
diffp_pfets.add(gdstk.Reference(pfet, (2.84,17.49), x_reflection=True))
diffp_pfets.add(gdstk.Reference(pfet, (0,9.66)))
diffp_pfets.add(gdstk.Reference(pfet, (2.84,9.66)))
diffp_pfets.add(gdstk.Reference(pfet, (0,-4.48)))
diffp_pfets.add(gdstk.Reference(pfet, (2.84,-4.48)))
diffp_pfets.add(gdstk.Reference(pfet, (9.87,-4.48)))
diffp_pfets.add(gdstk.Reference(pfet, (7.03,-4.48)))
diffp_pfets.add(gdstk.Reference(pfet, (0,-4.48)))
diffp_pfets.add(gdstk.Reference(pfet, (2.84,-4.48)))
diffp_pfets.add(gdstk.Reference(pfet, (0,21.97), x_reflection=True))
diffp_pfets.add(gdstk.Reference(pfet, (2.84,21.97), x_reflection=True))
diffp_pfets.add(gdstk.Reference(pfet, (7.03,21.97), x_reflection=True))
diffp_pfets.add(gdstk.Reference(pfet, (9.87,21.97), x_reflection=True))
diffp_pfets.add(gdstk.Reference(pfet, (0,21.97), x_reflection=True))
diffp_pfets.add(gdstk.Reference(pfet, (2.84,21.97), x_reflection=True))
diffp_pfets.add(gdstk.Reference(pfet, (-7.03,7.83), x_reflection=True))
diffp_pfets.add(gdstk.Reference(pfet, (-4.19,7.83), x_reflection=True))
diffp_pfets.add(gdstk.Reference(pfet, (-7.03,0)))
diffp_pfets.add(gdstk.Reference(pfet, (-4.19,0)))
diffp_pfets.add(gdstk.Reference(pfet, (-7.03,17.49), x_reflection=True))
diffp_pfets.add(gdstk.Reference(pfet, (-4.19,17.49), x_reflection=True))
diffp_pfets.add(gdstk.Reference(pfet, (-7.03,9.66)))
diffp_pfets.add(gdstk.Reference(pfet, (-4.19,9.66)))
diffp_pfets.add(gdstk.Reference(pfet, (-7.03,7.83), x_reflection=True))
diffp_pfets.add(gdstk.Reference(pfet, (-4.19,7.83), x_reflection=True))
diffp_pfets.add(gdstk.Reference(pfet, (-7.03,0)))
diffp_pfets.add(gdstk.Reference(pfet, (-4.19,0)))
diffp_pfets.add(gdstk.Reference(pfet, (-7.03,17.49), x_reflection=True))
diffp_pfets.add(gdstk.Reference(pfet, (-4.19,17.49), x_reflection=True))
diffp_pfets.add(gdstk.Reference(pfet, (-7.03,9.66)))
diffp_pfets.add(gdstk.Reference(pfet, (-4.19,9.66)))
diffp_pfets.add(gdstk.Reference(pfet, (-7.03,-4.48)))
diffp_pfets.add(gdstk.Reference(pfet, (-4.19,-4.48)))
diffp_pfets.add(gdstk.Reference(pfet, (-7.03,-4.48)))
diffp_pfets.add(gdstk.Reference(pfet, (-4.19,-4.48)))
diffp_pfets.add(gdstk.Reference(pfet, (-7.03,21.97), x_reflection=True))
diffp_pfets.add(gdstk.Reference(pfet, (-4.19,21.97), x_reflection=True))
diffp_pfets.add(gdstk.Reference(pfet, (-7.03,21.97), x_reflection=True))
diffp_pfets.add(gdstk.Reference(pfet, (-4.19,21.97), x_reflection=True))
diffp_pfets.add(gdstk.Reference(pfet, (14.06,7.83), x_reflection=True))
diffp_pfets.add(gdstk.Reference(pfet, (16.9,7.83), x_reflection=True))
diffp_pfets.add(gdstk.Reference(pfet, (16.9,0)))
diffp_pfets.add(gdstk.Reference(pfet, (14.06,17.49), x_reflection=True))
diffp_pfets.add(gdstk.Reference(pfet, (16.9,17.49), x_reflection=True))
diffp_pfets.add(gdstk.Reference(pfet, (14.06,9.66)))
diffp_pfets.add(gdstk.Reference(pfet, (16.9,9.66)))
diffp_pfets.add(gdstk.Reference(pfet, (14.06,0)))
diffp_pfets.add(gdstk.Reference(pfet, (16.9,-4.48)))
diffp_pfets.add(gdstk.Reference(pfet, (14.06,-4.48)))
diffp_pfets.add(gdstk.Reference(pfet, (14.06,21.97), x_reflection=True))
diffp_pfets.add(gdstk.Reference(pfet, (16.9,21.97), x_reflection=True))
diffp_pfets.add(gdstk.Label('G2', (0.905,5.32), layer=34, texttype=10))
diffp_pfets.add(gdstk.Label('S', (5.41,-0.125), layer=34, texttype=10))
diffp_pfets.add(gdstk.Label('D1', (-0.19,2.03), layer=34, texttype=10))
diffp_pfets.add(gdstk.Label('D2', (12.52,-0.155), layer=34, texttype=10))
diffp_pfets.add(gdstk.Label('B', (15.015,3.535), layer=34, texttype=10))
diffp_pfets.add(gdstk.Label('G1', (1.48,2.45), layer=34, texttype=10))

lib.write_gds('DiffP_pfets.gds')
